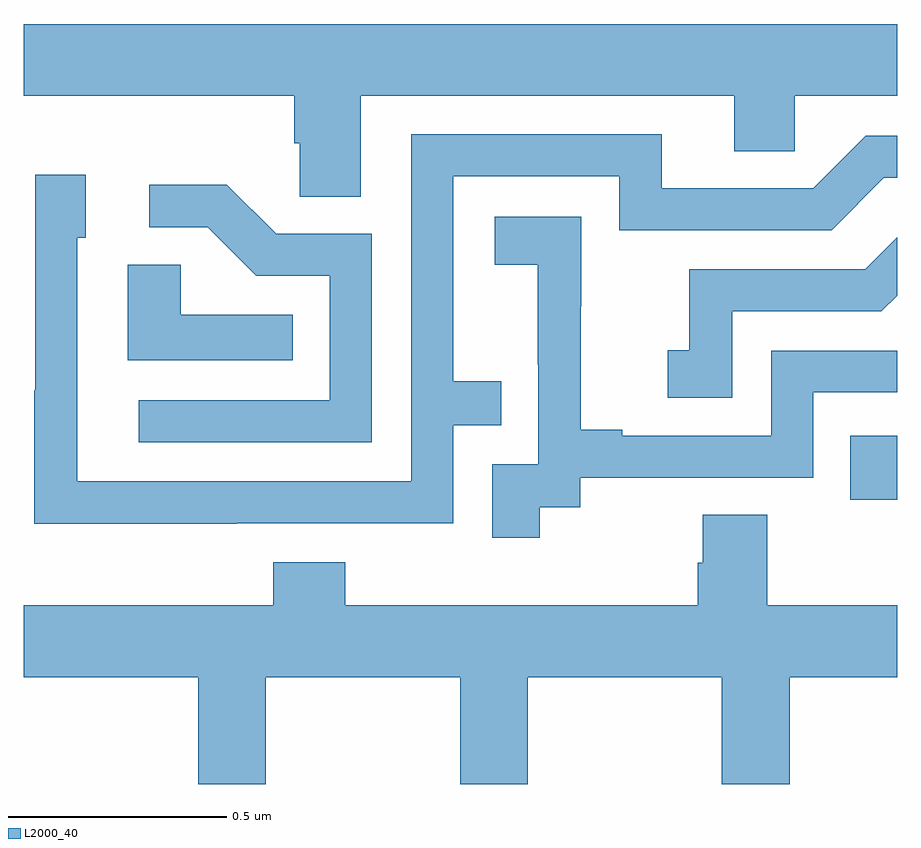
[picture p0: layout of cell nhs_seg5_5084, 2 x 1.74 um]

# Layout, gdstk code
import gdstk
lib = gdstk.Library(unit=1e-6, precision=1e-09)
def R(c, l, rs):  # rectangles x0, y0, x1, y1
    for r in rs: c.add(gdstk.rectangle(r[:2], r[2:], *l))
def P(c, l, *ps):  # polygons
    for p in ps: c.add(gdstk.Polygon(p, *l))
L2000_40 = (2000, 40)

nhs_seg5_5084 = lib.new_cell('nhs_seg5_5084')
R(nhs_seg5_5084, L2000_40, [(179.893,906.45,180,906.597)])
P(nhs_seg5_5084, L2000_40, [(178.771,907.376),(179.627,907.376),(179.627,907.249),(179.766,907.249),(179.766,907.376),(180,907.376),(180,907.54),(178,907.54),(178,907.376),(178.619,907.376),(178.619,907.267),(178.632,907.267),(178.632,907.144),(178.771,907.144)],
  [(178.487,906.396),(178.983,906.396),(178.983,906.621),(179.093,906.621),(179.093,906.722),(178.983,906.722),(178.983,907.191),(179.364,907.191),(179.364,907.068),(179.85,907.068),(179.97,907.188),(180,907.188),(180,907.284),(179.928,907.284),(179.808,907.164),(179.461,907.164),(179.461,907.287),(178.887,907.287),(178.887,906.492),(178.122,906.492),(178.122,907.05),(178.141,907.05),(178.141,907.195),(178.026,907.195),(178.026,906.701),(178.024,906.701),(178.024,906.395),(178.487,906.395)],
  [(178.797,907.059),(178.578,907.059),(178.465,907.172),(178.287,907.172),(178.287,907.074),(178.421,907.074),(178.532,906.963),(178.701,906.963),(178.701,906.678),(178.263,906.678),(178.263,906.582),(178.797,906.582)],
  [(179.182,906.433),(179.274,906.433),(179.274,906.501),(179.808,906.501),(179.808,906.696),(180,906.696),(180,906.792),(179.712,906.792),(179.712,906.597),(179.371,906.597),(179.371,906.61),(179.276,906.61),(179.276,906.893),(179.277,906.893),(179.277,907.099),(179.079,907.099),(179.079,906.989),(179.177,906.989),(179.177,906.761),(179.178,906.761),(179.178,906.531),(179.073,906.531),(179.073,906.363),(179.182,906.363)],
  [(179.622,906.882),(179.964,906.882),(180,906.918),(180,907.051),(179.927,906.978),(179.524,906.978),(179.524,906.793),(179.475,906.793),(179.475,906.684),(179.622,906.684)],
  [(178.616,906.874),(178.359,906.874),(178.359,906.989),(178.238,906.989),(178.238,906.77),(178.616,906.77)],
  [(178.554,906.044),(178.999,906.044),(178.999,905.799),(179.154,905.799),(179.154,906.044),(179.599,906.044),(179.599,905.799),(179.754,905.799),(179.754,906.044),(180,906.044),(180,906.208),(179.703,906.208),(179.703,906.416),(179.555,906.416),(179.555,906.306),(179.543,906.306),(179.543,906.208),(178.736,906.208),(178.736,906.307),(178.571,906.307),(178.571,906.208),(178,906.208),(178,906.044),(178.399,906.044),(178.399,905.799),(178.554,905.799)])

lib.write_gds('nhs_seg5_5084.gds')
